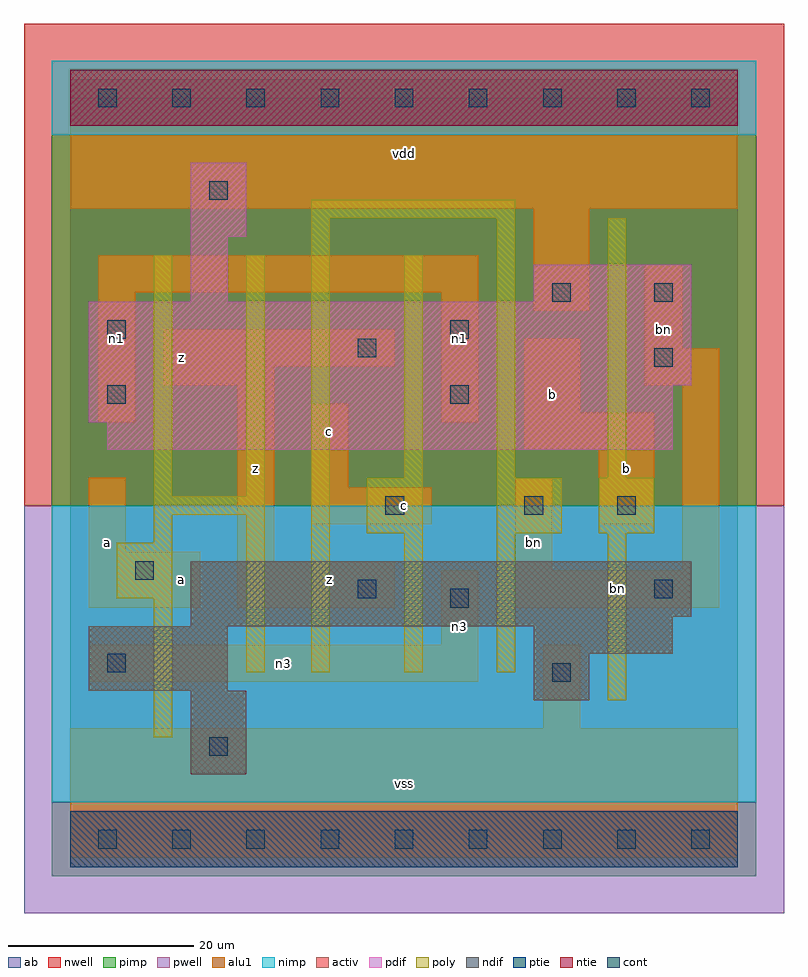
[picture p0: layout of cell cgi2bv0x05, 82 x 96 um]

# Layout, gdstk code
import gdstk
lib = gdstk.Library(unit=1e-6, precision=1e-09)
def R(c, l, rs):  # rectangles x0, y0, x1, y1
    for r in rs: c.add(gdstk.rectangle(r[:2], r[2:], *l))
def A(c, l, x, y, w, h, nx, ny, dx, dy):  # array of equal rectangles
    R(c, l, [(x+i*dx, y+j*dy, x+i*dx+w, y+j*dy+h) for i in range(nx) for j in range(ny)])
ndif = (3, 0)
pdif = (4, 0)
ntie = (5, 0)
ptie = (6, 0)
cont = (25, 0)
pwell = (41, 0)
nwell = (42, 0)
activ = (43, 0)
pimp = (44, 0)
nimp = (45, 0)
poly = (46, 0)
alu1 = (49, 0)
ab = (63, 0)

cgi2bv0x05 = lib.new_cell('cgi2bv0x05')
R(cgi2bv0x05, ndif, [(13,7,19,16), (50,15,56,20), (2,16,17,23), (50,20,65,23), (13,23,65,24), (13,24,67,30)])
R(cgi2bv0x05, pdif, [(4,42,65,45), (2,45,65,49), (2,49,67,58), (13,58,17,65), (50,58,67,62), (13,65,19,73)])
R(cgi2bv0x05, ntie, [(0,77,72,83)])
R(cgi2bv0x05, ptie, [(0,-3,72,3)])
A(cgi2bv0x05, cont, 3, -1, 2, 2, 9, 2, 8, 80)
R(cgi2bv0x05, cont, [(15,9,17,11), (52,17,54,19), (4,18,6,20), (41,25,43,27), (31,26,33,28), (63,26,65,28), (7,28,9,30), (34,35,36,37), (49,35,51,37), (59,35,61,37), (4,47,6,49), (41,47,43,49), (63,51,65,53), (31,52,33,54), (4,54,6,56), (41,54,43,56), (52,58,54,60), (63,58,65,60), (15,69,17,71)])
R(cgi2bv0x05, pwell, [(-5,-8,77,36)])
R(cgi2bv0x05, nwell, [(-5,36,77,88)])
R(cgi2bv0x05, activ, [(0,-3,72,3), (13,7,19,16), (50,15,56,20), (2,16,17,23), (50,20,65,23), (13,23,65,24), (13,24,67,30), (4,42,65,45), (2,45,65,49), (2,49,67,58), (13,58,17,65), (50,58,67,62), (13,65,19,73), (0,77,72,83)])
R(cgi2bv0x05, pimp, [(-2,-4,74,4), (-2,36,74,76)])
R(cgi2bv0x05, nimp, [(-2,4,74,36), (-2,76,74,84)])
R(cgi2bv0x05, poly, [(9,11,11,26), (58,15,60,33), (19,18,21,35), (26,18,28,67), (36,18,38,33), (46,18,48,33), (5,26,11,32), (9,32,11,35), (32,33,38,39), (46,33,53,39), (57,33,63,39), (9,35,21,37), (9,37,11,63), (19,37,21,63), (36,39,38,63), (46,39,48,67), (58,39,60,67), (26,67,48,69)])
R(cgi2bv0x05, alu1, [(0,-2,72,12), (51,12,55,21), (2,17,44,21), (40,21,44,29), (2,25,14,31), (18,25,35,30), (48,25,70,29), (48,29,52,39), (66,29,70,49), (18,30,22,49), (2,31,6,39), (26,34,39,38), (57,34,63,42), (26,38,30,47), (49,42,63,46), (3,45,7,59), (40,45,44,59), (49,46,55,54), (10,49,22,51), (62,49,70,53), (10,51,35,55), (62,53,66,62), (50,57,56,68), (3,59,44,63), (0,68,72,82)])
R(cgi2bv0x05, ab, [(0,0,72,80)])
cgi2bv0x05.add(gdstk.Label('n1', (5,54), layer=49, texttype=0))
cgi2bv0x05.add(gdstk.Label('n3', (42,23), layer=49, texttype=0))
cgi2bv0x05.add(gdstk.Label('n3', (23,19), layer=49, texttype=0))
cgi2bv0x05.add(gdstk.Label('bn', (50,32), layer=49, texttype=0))
cgi2bv0x05.add(gdstk.Label('n1', (42,54), layer=49, texttype=0))
cgi2bv0x05.add(gdstk.Label('bn', (59,27), layer=49, texttype=0))
cgi2bv0x05.add(gdstk.Label('bn', (64,55), layer=49, texttype=0))
cgi2bv0x05.add(gdstk.Label('a', (12,28), layer=49, texttype=0))
cgi2bv0x05.add(gdstk.Label('a', (4,32), layer=49, texttype=0))
cgi2bv0x05.add(gdstk.Label('z', (12,52), layer=49, texttype=0))
cgi2bv0x05.add(gdstk.Label('z', (28,28), layer=49, texttype=0))
cgi2bv0x05.add(gdstk.Label('c', (28,44), layer=49, texttype=0))
cgi2bv0x05.add(gdstk.Label('z', (20,40), layer=49, texttype=0))
cgi2bv0x05.add(gdstk.Label('vss', (36,6), layer=49, texttype=0))
cgi2bv0x05.add(gdstk.Label('c', (36,36), layer=49, texttype=0))
cgi2bv0x05.add(gdstk.Label('b', (52,48), layer=49, texttype=0))
cgi2bv0x05.add(gdstk.Label('vdd', (36,74), layer=49, texttype=0))
cgi2bv0x05.add(gdstk.Label('b', (60,40), layer=49, texttype=0))

lib.write_gds('cgi2bv0x05.gds')
